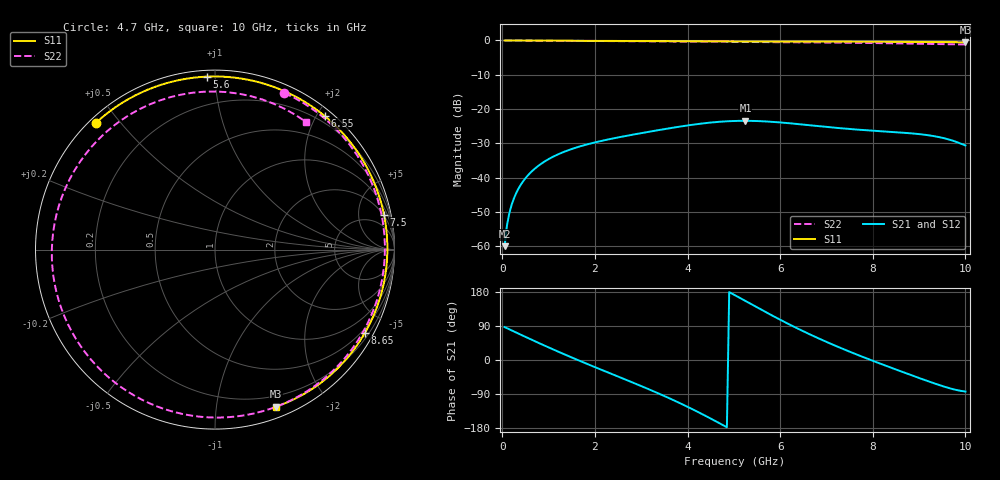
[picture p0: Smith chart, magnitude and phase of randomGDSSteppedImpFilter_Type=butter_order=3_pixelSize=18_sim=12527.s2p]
! freq	dB(S11)	phase(S11)	dB(S12)	phase(S12)
!  dB(S21)	phase(S21)	dB(S22)	phase(S22)
!S-par simulation data
#  GHz  S  DB  R 50
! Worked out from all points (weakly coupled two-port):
!   200 points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, 50 MHz to 10 GHz, reference 50 ohm
!   highest |S21| = -23.41 dB at 5.25 GHz (marker M1); lowest = -59.9 dB at 50 MHz (marker M2)
!   lowest |S11| = -0.5 dB at 10 GHz (marker M3), VSWR 31.64, Z = 4.95 - j72.9 ohm
!   |S11| at or under -10 dB: nowhere
!   |S22| runs from -1.2 to 0.0 dB; largest |S21 - S12| = 0
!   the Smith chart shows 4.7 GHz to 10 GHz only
!   S11 on the Smith chart (normalised r, x): 4.7 GHz: 0.02, +0.43; 5.6 GHz: 0.03, +0.96; 6.55 GHz: 0.10, +2.11; 7.5 GHz: 1.83, +9.41; 8.65 GHz: 0.36, -3.81; 10 GHz: 0.10, -1.46
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0.05  -0.00 -2.8  -59.93 86.8  -59.93 86.8  -0.00 -3.1
0.1  -0.01 -5.5  -53.94 83.9  -53.94 83.9  -0.01 -6.1
0.2  -0.02 -11.0  -47.96 78.2  -47.96 78.2  -0.02 -12.1
0.5  -0.03 -27.3  -40.14 61.0  -40.14 61.0  -0.04 -30.1
1.15  -0.08 -61.8  -33.52 25.1  -33.52 25.1  -0.09 -68.4
1.75  -0.12 -92.1  -30.58 -6.2  -30.58 -6.2  -0.13 -102.6
2.65  -0.16 -134.8  -27.87 -51.2  -27.87 -51.2  -0.19 -153.8
3.4  -0.20 -168.8  -26.06 -89.7  -26.06 -89.7  -0.25 160.7
4.15  -0.24 157.7  -24.48 -132.5  -24.48 -132.5  -0.34 108.8
4.7  -0.27 133.1  -23.68 -167.5  -23.68 -167.5  -0.40 66.1
5.05  -0.29 117.3  -23.44 169.1  -23.44 169.1  -0.44 37.7
5.25  -0.30 108.3  -23.41 155.6  -23.41 155.6  -0.45 21.5
5.6  -0.31 92.6  -23.53 132.2  -23.53 132.2  -0.48 -6.2
6.1  -0.32 70.3  -24.00 100.0  -24.00 100.0  -0.51 -43.2
6.55  -0.33 50.6  -24.58 72.9  -24.58 72.9  -0.55 -73.4
6.7  -0.33 44.2  -24.79 64.3  -24.79 64.3  -0.56 -82.9
7.5  -0.34 11.7  -25.80 22.0  -25.80 22.0  -0.67 -130.3
8.35  -0.38 -19.2  -26.60 -18.3  -26.60 -18.3  -0.83 180.0
8.65  -0.40 -29.2  -26.87 -31.9  -26.87 -31.9  -0.89 160.9
9.4  -0.47 -52.2  -28.07 -64.7  -28.07 -64.7  -1.06 106.3
9.7  -0.50 -60.6  -29.08 -75.9  -29.08 -75.9  -1.12 81.1
10  -0.55 -68.7  -30.60 -83.2  -30.60 -83.2  -1.18 54.4
